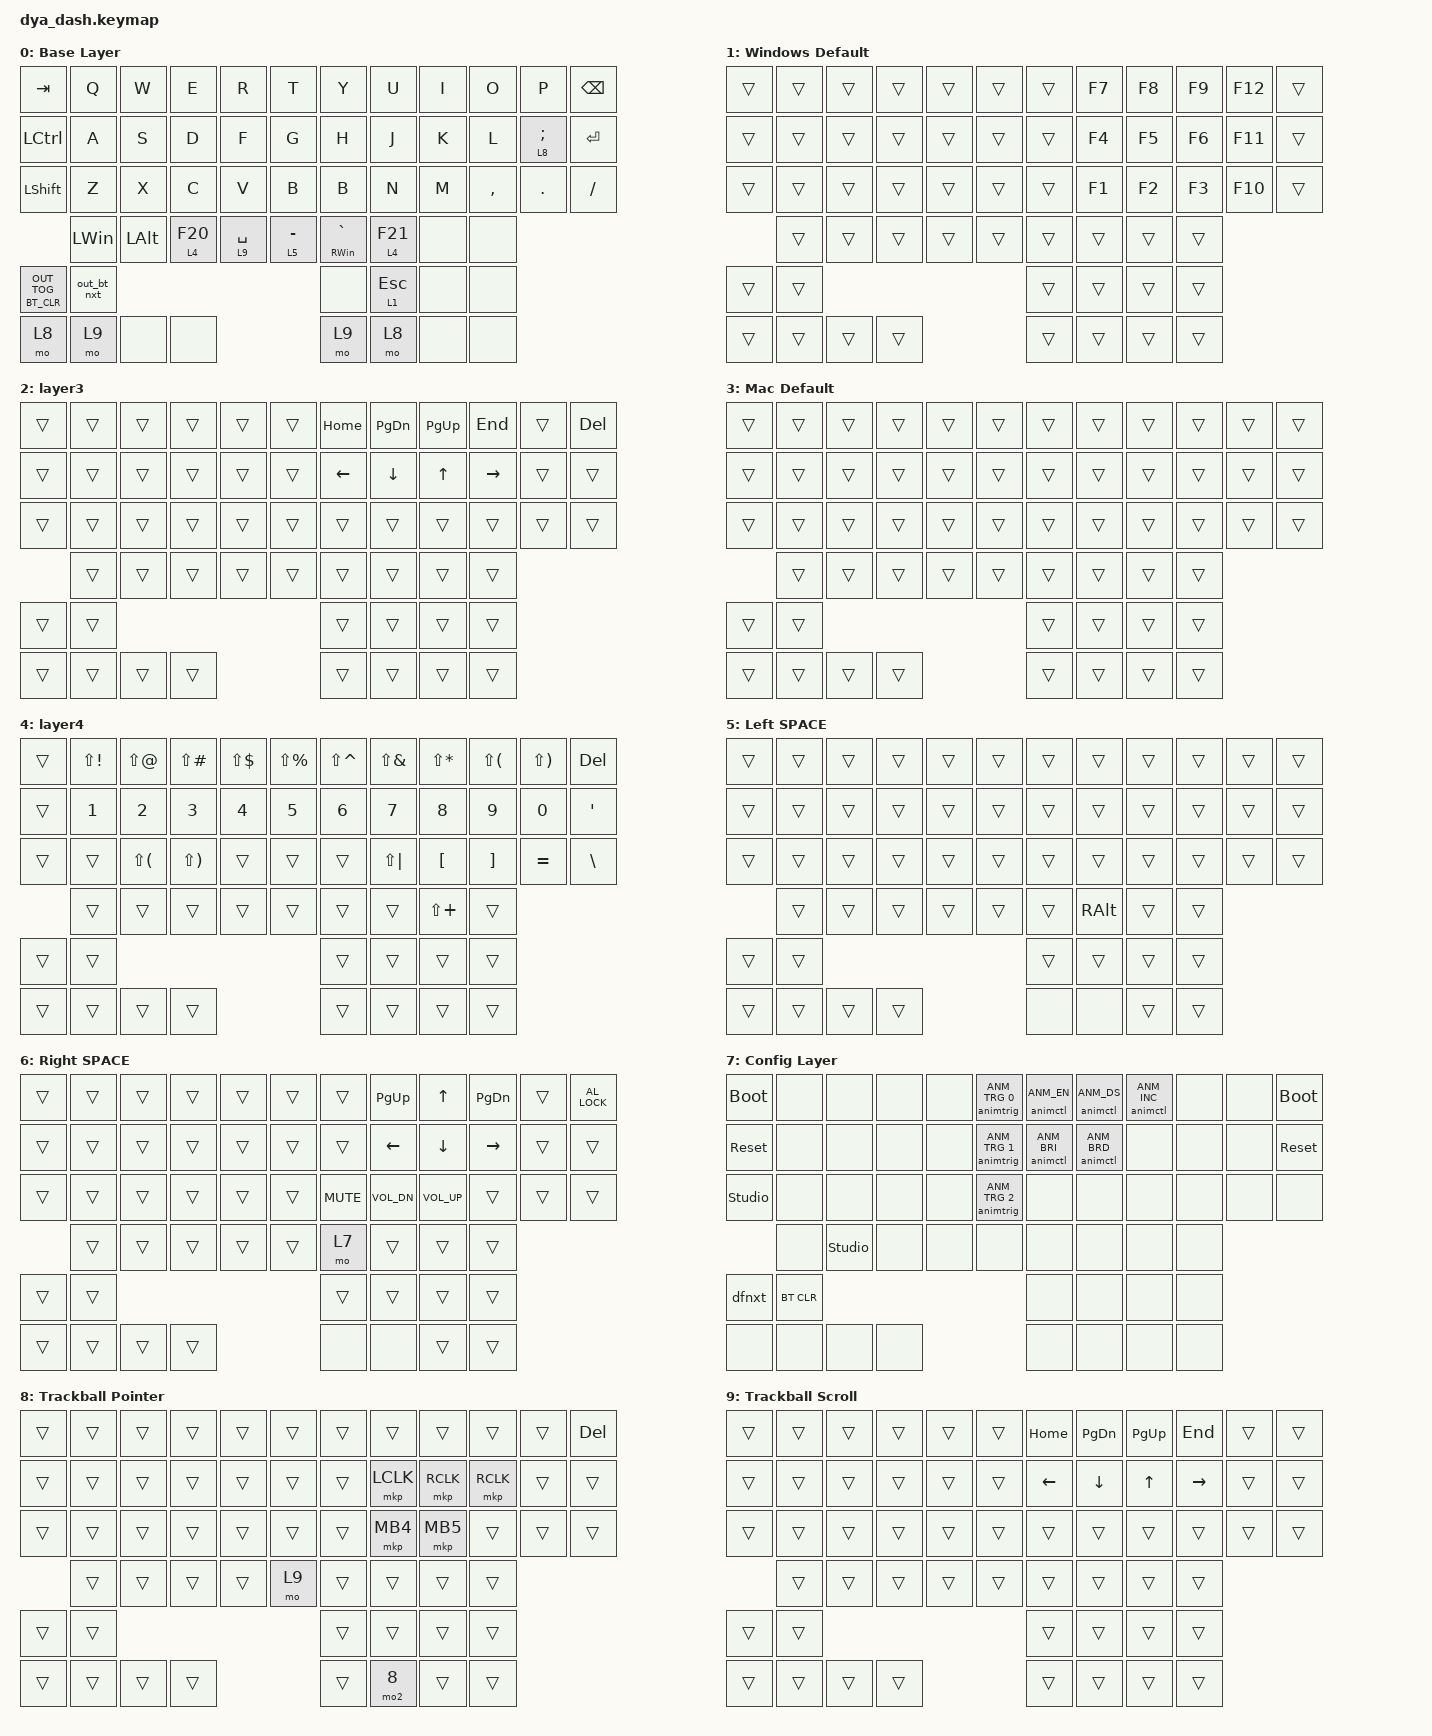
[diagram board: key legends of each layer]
#include <behaviors/mouse_move.dtsi>
#include <behaviors/animation_control.dtsi>
#include <behaviors/animation_trigger.dtsi>
#include <dt-bindings/zmk/mouse.h>
#include <dt-bindings/zmk_driver_animation/animation_control.h>
#include <dt-bindings/zmk_driver_animation/animation_trigger.h>
#include <dt-bindings/zmk_behavior_default_layer/default_layer.h>
#include <behaviors.dtsi>
#include <dt-bindings/zmk/bt.h>
#include <dt-bindings/zmk/keys.h>
#include <dt-bindings/zmk/outputs.h>
#include <dt-bindings/zmk/pointing.h>

// Layer definitions

#define DEFAULT_L 0
#define WINDOWS_L 1
#define MAC_L 2
#define IOS_L 3
#define LINUX_L 4
#define LEFT_L 5
#define RIGHT_L 6
#define CONFIG_L 7
#define TRACKBALL_L 8
#define SCROLL_L 9
#define EXT1_L 10
#define EXT2_L 11
#define EXT3_L 12

&trackball_listener {
    // When trackball is used, TRACKBALL_L layer is activated.
    // After 500ms of trackball inactivity, the layer is deactivated.

    input-processors = <&zip_temp_layer TRACKBALL_L 500>;
};

&trackball_scroller { layers = <SCROLL_L>; };

&trackball_listener_l { input-processors = <&zip_temp_layer TRACKBALL_L 500>; };

&trackball_scroller_l { layers = <SCROLL_L>; };

&zip_temp_layer { excluded-positions = <19 20 21 22 32 33 41 52 53 54 55 56 57 58 59>; };

/ {
    behaviors {
        // ctrl+h as backspace

        hbackspace: h_or_ctrl_backspace {
            compatible = "zmk,behavior-mod-morph";
            #binding-cells = <0>;
            bindings = <&kp H>, <&kp BACKSPACE>;

            mods = <(MOD_LCTL)>;
        };

        // ctrl+j as enter

        jenter: j_or_ctrl_enter {
            compatible = "zmk,behavior-mod-morph";
            #binding-cells = <0>;
            bindings = <&kp J>, <&kp ENTER>;

            mods = <(MOD_LCTL)>;
        };

        // output for tap, bt for hold

        outbt: out_bt {
            compatible = "zmk,behavior-hold-tap";
            #binding-cells = <2>;
            flavor = "tap-preferred";
            tapping-term-ms = <1000>;
            bindings = <&bt1param>, <&out>;

            display-name = "Out-BT";
        };

        tog_off: toggle_layer_off_only {
            compatible = "zmk,behavior-toggle-layer";
            #binding-cells = <1>;
            display-name = "Toggle Layer Off";
            toggle-mode = "off";
        };
    };

    macros {
        out_bt_nxt: out_bt_nxt {
            compatible = "zmk,behavior-macro";
            #binding-cells = <0>;
            wait-ms = <50>;

            // Disconnect from all once for reliable connection to selected profile.
            // ZMK automatically reconnects to current profile right after disconnection.

            bindings = <&out OUT_BLE &bt BT_NXT &bt BT_DISC 0 &bt BT_DISC 1 &bt BT_DISC 2 &bt BT_DISC 3 &bt BT_DISC 4>;
        };

        dfnxt: dfnxt {
            compatible = "zmk,behavior-macro";
            #binding-cells = <0>;
            bindings = <&df DF_INC &animtrig ANM_TRG 2>;
        };

        // macro to use &bt in hold-tap. two param command is not supported in hold-tap for now.

        bt1param: bt_1param {
            compatible = "zmk,behavior-macro-one-param";
            #binding-cells = <1>;
            wait-ms = <0>;
            bindings = <&macro_param_1to1 &bt MACRO_PLACEHOLDER 0>;
        };

        // diactivate speficied layer and execute &mo to disable trackball temp layer disable callback

        mo2: mo2 {
            compatible = "zmk,behavior-macro-one-param";
            #binding-cells = <1>;
            bindings = <&macro_param_1to1 &tog_off MACRO_PLACEHOLDER &macro_param_1to1 &mo MACRO_PLACEHOLDER>;
        };
    };

    combos {
        compatible = "zmk,combos";

        // Right side's setting button shares input pin with arrow keys.
        // It works as a combo of two arrow keys.

        setting_r1 {
            timeout-ms = <10>;
            key-positions = <47 50>;
            bindings = <&bt BT_CLR>;
        };

        setting_r2 {
            timeout-ms = <10>;
            key-positions = <47 49>;
            bindings = <&kp C_VOL_UP>;
        };
    };

    keymap {
        compatible = "zmk,keymap";

        // template {
        //     bindings = <
        //         &trans      &trans      &trans      &trans      &trans      &trans      /**/ &trans      &trans      &trans      &trans      &trans      &trans
        //         &trans      &trans      &trans      &trans      &trans      &trans      /**/ &trans      &trans      &trans      &trans      &trans      &trans
        //         &trans      &trans      &trans      &trans      &trans      &trans      /**/ &trans      &trans      &trans      &trans      &trans      &trans
        //                     &trans      &trans      &trans      &trans      &trans      /**/ &trans      &trans      &trans      &trans
        //
        //         &trans      &trans                                                      /**/ &trans      &trans      &trans      &trans
        //         &trans      &trans      &trans      &trans                              /**/ &trans      &trans      &trans      &trans
        //     >;
        // };

        default_layer {
            display-name = "Base Layer";

            // --------------------------------------------------------------------------------------------------------------------------------------------------
            // |   TAB   |    Q    |    W    |    E       |    R             |    T    |            |    Y    |    U             |    I     |    O    |    P    |    [    |
            // |   CTRL  |    A    |    S    |    D       |    F             |    G    |            |    H    |    J             |    K     |    L    |    ;    |    '    |
            // |  SHIFT  |    Z    |    X    |    C       |    V             |    B    |            |    B    |    N             |    M     |    ,    |    .    |    /    |
            //           |   ALT   |   CMD   |   Cmd (En) |  SPACE or LOWER  |Cmd (En) |            | Cmd(ja) |  Space or LOWER2 |          |         |
            // --------------------------------------------------------------------------------------------------------------------------------------------------
            // | BLE     |  USB    |                                                                |  left   | up   | down | right |
            // | touch1  | touch2  | touch3  | touch 4    |                                         | touch1  | touch2  | touch3  | touch 4 |

            bindings = <
&kp TAB                &kp Q         &kp W         &kp E      &kp R        &kp T        &kp Y                &kp U         &kp I  &kp O      &kp P            &kp BACKSPACE
&kp LCTRL              &kp A         &kp S         &kp D      &kp F        &kp G        &kp H                &kp J         &kp K  &kp L      &lt 8 SEMICOLON  &kp ENTER
&kp LSHIFT             &kp Z         &kp X         &kp C      &kp V        &kp B        &kp B                &kp N         &kp M  &kp COMMA  &kp DOT          &kp FSLH
                       &kp LEFT_WIN  &kp LEFT_ALT  &lt 4 F20  &lt 9 SPACE  &lt 5 MINUS  &mt RIGHT_WIN GRAVE  &lt 4 F21     &none  &none
&outbt BT_CLR OUT_TOG  &out_bt_nxt                                                      &none                &lt 1 ESCAPE  &none  &none
&mo 8                  &mo 9         &none         &none                                &mo 9                &mo 8         &none  &none
            >;
        };

        windows_default_layer {
            display-name = "Windows Default";
            bindings = <
&trans  &trans  &trans  &trans  &trans  &trans  &trans  &kp F7  &kp F8  &kp F9  &kp F12  &trans
&trans  &trans  &trans  &trans  &trans  &trans  &trans  &kp F4  &kp F5  &kp F6  &kp F11  &trans
&trans  &trans  &trans  &trans  &trans  &trans  &trans  &kp F1  &kp F2  &kp F3  &kp F10  &trans
        &trans  &trans  &trans  &trans  &trans  &trans  &trans  &trans  &trans
&trans  &trans                                  &trans  &trans  &trans  &trans
&trans  &trans  &trans  &trans                  &trans  &trans  &trans  &trans
            >;
        };

        layer3 {
            display-name = "layer3";
            bindings = <
&trans  &trans  &trans  &trans  &trans  &trans  &kp HOME  &kp PG_DN  &kp PG_UP  &kp END    &trans  &kp DEL
&trans  &trans  &trans  &trans  &trans  &trans  &kp LEFT  &kp DOWN   &kp UP     &kp RIGHT  &trans  &trans
&trans  &trans  &trans  &trans  &trans  &trans  &trans    &trans     &trans     &trans     &trans  &trans
        &trans  &trans  &trans  &trans  &trans  &trans    &trans     &trans     &trans
&trans  &trans                                  &trans    &trans     &trans     &trans
&trans  &trans  &trans  &trans                  &trans    &trans     &trans     &trans
            >;
        };

        mac_default_layer {
            display-name = "Mac Default";
            bindings = <
&trans  &trans  &trans  &trans  &trans  &trans  &trans  &trans  &trans  &trans  &trans  &trans
&trans  &trans  &trans  &trans  &trans  &trans  &trans  &trans  &trans  &trans  &trans  &trans
&trans  &trans  &trans  &trans  &trans  &trans  &trans  &trans  &trans  &trans  &trans  &trans
        &trans  &trans  &trans  &trans  &trans  &trans  &trans  &trans  &trans
&trans  &trans                                  &trans  &trans  &trans  &trans
&trans  &trans  &trans  &trans                  &trans  &trans  &trans  &trans
            >;
        };

        layer4 {
            display-name = "layer4";
            bindings = <
&trans  &kp LS(EXCL)  &kp LS(AT)    &kp LS(POUND)  &kp LS(DLLR)  &kp LS(PRCNT)  &kp LS(CARET)  &kp LS(AMPS)  &kp LS(STAR)  &kp LS(LPAR)  &kp LS(RPAR)  &kp DEL
&trans  &kp NUMBER_1  &kp N2        &kp N3         &kp N4        &kp N5         &kp N6         &kp N7        &kp N8        &kp N9        &kp N0        &kp SQT
&trans  &trans        &kp LS(LPAR)  &kp LS(RPAR)   &trans        &trans         &trans         &kp LS(PIPE)  &kp LBKT      &kp RBKT      &kp EQUAL     &kp BSLH
        &trans        &trans        &trans         &trans        &trans         &trans         &trans        &kp LS(PLUS)  &trans
&trans  &trans                                                                  &trans         &trans        &trans        &trans
&trans  &trans        &trans        &trans                                      &trans         &trans        &trans        &trans
            >;
        };

        left_layer {
            display-name = "Left SPACE";

            // --------------------------------------------------------------------------------------------------------------------------------------------------------------------
            // |  ESC    |  !  |  @  |  #       |  $  |  %       |                           |  ^  |  &      |  *      |  (  |  )  |  ]  |
            // |         |  1  |  2  |  3       |  4  |  5       |                           |  6  |  7      |  8      |  9  |  0  |  \  |
            // |         |     |     |          |     |          |                           |  `  |  -      |  =      |  [  |  ]  |SHIFT|
            //           |     |     |          |     |          |                           |     |         |         |     |

            bindings = <
&trans  &trans  &trans  &trans  &trans  &trans  &trans  &trans         &trans  &trans  &trans  &trans
&trans  &trans  &trans  &trans  &trans  &trans  &trans  &trans         &trans  &trans  &trans  &trans
&trans  &trans  &trans  &trans  &trans  &trans  &trans  &trans         &trans  &trans  &trans  &trans
        &trans  &trans  &trans  &trans  &trans  &trans  &kp RIGHT_ALT  &trans  &trans
&trans  &trans                                  &trans  &trans         &trans  &trans
&trans  &trans  &trans  &trans                  &none   &none          &trans  &trans
            >;
        };

        right_layer {
            display-name = "Right SPACE";
            bindings = <
&trans  &trans  &trans  &trans  &trans  &trans  &trans      &kp PG_UP     &kp UP        &kp PG_DN  &trans  &kp C_AL_LOCK
&trans  &trans  &trans  &trans  &trans  &trans  &trans      &kp LEFT      &kp DOWN      &kp RIGHT  &trans  &trans
&trans  &trans  &trans  &trans  &trans  &trans  &kp C_MUTE  &kp C_VOL_DN  &kp C_VOL_UP  &trans     &trans  &trans
        &trans  &trans  &trans  &trans  &trans  &mo 7       &trans        &trans        &trans
&trans  &trans                                  &trans      &trans        &trans        &trans
&trans  &trans  &trans  &trans                  &none       &none         &trans        &trans
            >;
        };

        config_layer {
            display-name = "Config Layer";
            bindings = <
&bootloader     &none       &none           &none  &none  &animtrig ANM_TRG 0  &animctl ANM_EN   &animctl ANM_DS   &animctl ANM_INC  &none  &none  &bootloader
&sys_reset      &none       &none           &none  &none  &animtrig ANM_TRG 1  &animctl ANM_BRI  &animctl ANM_BRD  &none             &none  &none  &sys_reset
&studio_unlock  &none       &none           &none  &none  &animtrig ANM_TRG 2  &none             &none             &none             &none  &none  &none
                &none       &studio_unlock  &none  &none  &none                &none             &none             &none             &none
&dfnxt          &bt BT_CLR                                                     &none             &none             &none             &none
&none           &none       &none           &none                              &none             &none             &none             &none
            >;
        };

        trackball_layer {
            display-name = "Trackball Pointer";
            bindings = <
&trans  &trans  &trans  &trans  &trans  &trans  &trans  &trans     &trans     &trans     &trans  &kp DELETE
&trans  &trans  &trans  &trans  &trans  &trans  &trans  &mkp LCLK  &mkp RCLK  &mkp RCLK  &trans  &trans
&trans  &trans  &trans  &trans  &trans  &trans  &trans  &mkp MB4   &mkp MB5   &trans     &trans  &trans
        &trans  &trans  &trans  &trans  &mo 9   &trans  &trans     &trans     &trans
&trans  &trans                                  &trans  &trans     &trans     &trans
&trans  &trans  &trans  &trans                  &trans  &mo2 8     &trans     &trans
            >;
        };

        scroll_layer {
            display-name = "Trackball Scroll";
            bindings = <
&trans  &trans  &trans  &trans  &trans  &trans  &kp HOME  &kp PG_DN       &kp PG_UP     &kp END    &trans  &trans
&trans  &trans  &trans  &trans  &trans  &trans  &kp LEFT  &kp DOWN_ARROW  &kp UP_ARROW  &kp RIGHT  &trans  &trans
&trans  &trans  &trans  &trans  &trans  &trans  &trans    &trans          &trans        &trans     &trans  &trans
        &trans  &trans  &trans  &trans  &trans  &trans    &trans          &trans        &trans
&trans  &trans                                  &trans    &trans          &trans        &trans
&trans  &trans  &trans  &trans                  &trans    &trans          &trans        &trans
            >;
        };

        extra1 { status = "reserved"; };

        extra2 { status = "reserved"; };

        extra3 { status = "reserved"; };
    };
};
